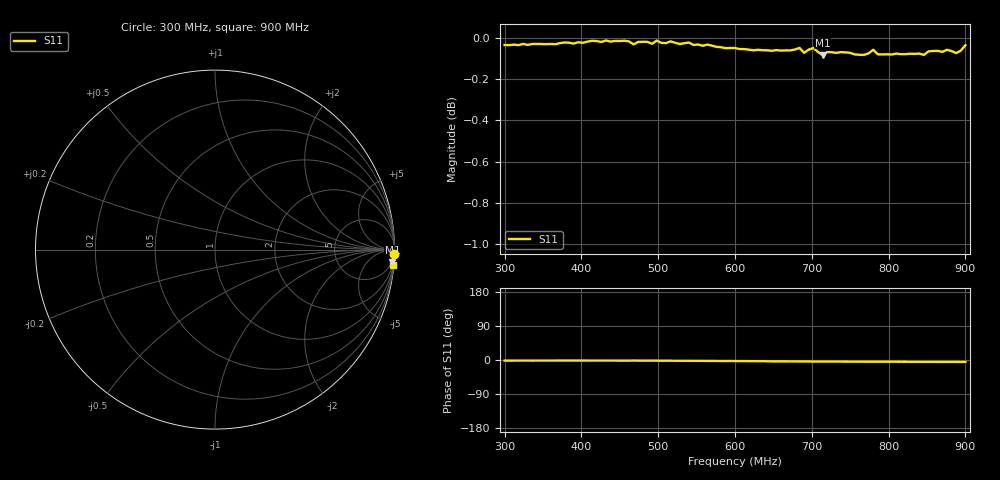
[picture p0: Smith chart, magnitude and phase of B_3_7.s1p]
# HZ S RI R 50
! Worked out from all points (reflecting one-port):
!   101 points, 300 MHz to 900 MHz, reference 50 ohm
!   lowest |S11| = -0.1 dB at 714 MHz (marker M1), VSWR 210.16, Z = 189 - j1.4e+03 ohm
!   phase of S11 starts at -2 deg and turns -3 deg over the sweep
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3e8  0.9958 -0.0271
3.78e8  0.9972 -0.0257
4.02e8  0.9971 -0.0248
4.5e8  0.998 -0.0276
4.62e8  0.9977 -0.0284
4.68e8  0.9962 -0.0247
4.74e8  0.9974 -0.0289
5.28e8  0.9961 -0.0359
6e8  0.9933 -0.0483
6.48e8  0.9911 -0.0606
6.78e8  0.9915 -0.0654
6.84e8  0.9923 -0.0667
6.9e8  0.9896 -0.0667
6.96e8  0.9913 -0.0671
7.02e8  0.9919 -0.0715
7.14e8  0.9881 -0.0696
7.5e8  0.9889 -0.0754
7.68e8  0.9876 -0.0772
7.8e8  0.9904 -0.0787
7.86e8  0.9879 -0.0783
8.28e8  0.9878 -0.083
8.46e8  0.987 -0.0842
8.58e8  0.9893 -0.0839
8.7e8  0.9886 -0.0864
8.76e8  0.9899 -0.0844
8.88e8  0.9879 -0.0855
8.94e8  0.989 -0.0887
9e8  0.9923 -0.0863
